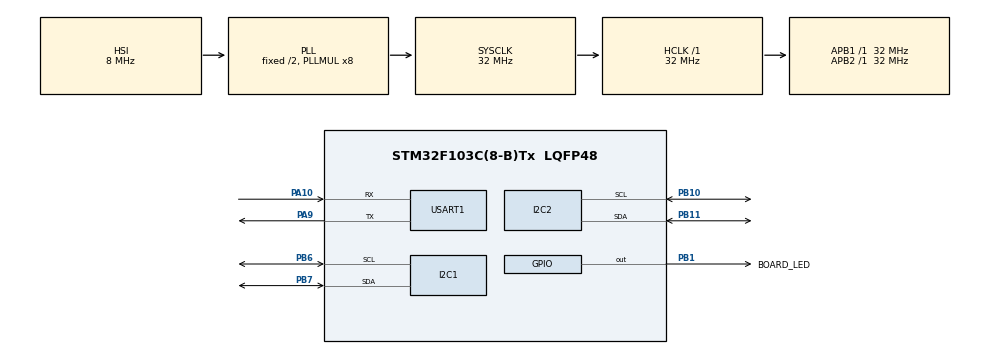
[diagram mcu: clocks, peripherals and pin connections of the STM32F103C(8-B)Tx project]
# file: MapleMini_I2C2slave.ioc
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I2C1.NoStretchMode=I2C_NOSTRETCH_ENABLE
I2C1.OwnAddress=0x21
I2C2.NoStretchMode=I2C_NOSTRETCH_ENABLE
I2C2.OwnAddress=0x20
Mcu.Family=STM32F1
Mcu.Name=STM32F103C(8-B)Tx
Mcu.Package=LQFP48
NVIC.I2C1_EV_IRQn=true\:0\:0\:false\:false\:true\:true\:true\:true
NVIC.I2C2_EV_IRQn=true\:0\:0\:false\:false\:true\:true\:true\:true
NVIC.PriorityGroup=NVIC_PRIORITYGROUP_4
PA10.Mode=Asynchronous
PA10.Signal=USART1_RX
PA13.Mode=Serial_Wire
PA13.Signal=SYS_JTMS-SWDIO
PA14.Mode=Serial_Wire
PA14.Signal=SYS_JTCK-SWCLK
PA9.Mode=Asynchronous
PA9.Signal=USART1_TX
PB1.GPIO_Label=BOARD_LED
PB1.Signal=GPIO_Output
PB10.GPIO_Pu=GPIO_PULLUP
PB10.Mode=I2C
PB10.Signal=I2C2_SCL
PB11.GPIO_Pu=GPIO_PULLUP
PB11.Mode=I2C
PB11.Signal=I2C2_SDA
PB6.Mode=I2C
PB6.Signal=I2C1_SCL
PB7.Mode=I2C
PB7.Signal=I2C1_SDA
PD0-OSC_IN.Mode=HSE-External-Oscillator
PD0-OSC_IN.Signal=RCC_OSC_IN
PD1-OSC_OUT.Mode=HSE-External-Oscillator
PD1-OSC_OUT.Signal=RCC_OSC_OUT
ProjectManager.HeapSize=0x200
ProjectManager.StackSize=0x400
ProjectManager.TargetToolchain=STM32CubeIDE
RCC.AHBFreq_Value=32000000
RCC.APB1Freq_Value=32000000
RCC.APB1TimFreq_Value=32000000
RCC.APB2Freq_Value=32000000
RCC.APB2TimFreq_Value=32000000
RCC.HCLKFreq_Value=32000000
RCC.PLLMUL=RCC_PLL_MUL8
RCC.SYSCLKFreq_VALUE=32000000
RCC.SYSCLKSource=RCC_SYSCLKSOURCE_PLLCLK
RCC.USBFreq_Value=32000000
USART1.VirtualMode=VM_ASYNC
board=custom

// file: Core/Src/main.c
/* USER CODE BEGIN Header */
/**
  ******************************************************************************
  * @file           : main.c
  * @brief          : Main program body
  ******************************************************************************
  * @attention
  *
  * <h2><center>&copy; Copyright (c) 2023 STMicroelectronics.
  * All rights reserved.</center></h2>
  *
  * This software component is licensed by ST under BSD 3-Clause license,
  * the "License"; You may not use this file except in compliance with the
  * License. You may obtain a copy of the License at:
  *                        opensource.org/licenses/BSD-3-Clause
  *
  ******************************************************************************
  */
/* USER CODE END Header */
#include "main.h"
#include "i2c.h"
#include "usart.h"
#include "gpio.h"

/* USER CODE BEGIN Includes */
#include <stdio.h>
/* USER CODE END Includes */

void SystemClock_Config(void);

int main(void)
{

  /* MCU Configuration--------------------------------------------------------*/

  /* Reset of all peripherals, Initializes the Flash interface and the Systick. */
  HAL_Init();

  /* Configure the system clock */
  SystemClock_Config();

  /* Initialize all configured peripherals */
  MX_GPIO_Init();
  MX_I2C2_Init();
  MX_USART1_UART_Init();
  MX_I2C1_Init();
  /* USER CODE BEGIN 2 */

  /* Buffer used for transmission */
  uint8_t aTxBuffer[3];

  #define COUNTOF(__BUFFER__)   (sizeof(__BUFFER__) / sizeof(*(__BUFFER__)))
  /* Size of Transmission buffer */
  #define TXBUFFERSIZE                      (COUNTOF(aTxBuffer))
  /* Size of Reception buffer */
  #define RXBUFFERSIZE                      TXBUFFERSIZE
  /* USER CODE END Includes */

  /* USER CODE BEGIN PTD */
  //__IO uint32_t     Transfer_Direction = 0;

  /* Buffer used for reception */
  uint8_t aRxBuffer[1];

  printf("enabling I2C listen interrupt...\r\n");
  if (HAL_I2C_EnableListen_IT(&hi2c2) != HAL_OK) {
    /* Transfer error in reception process */
    Error_Handler();
  }

  /* USER CODE END 2 */

  /* Infinite loop */
  /* USER CODE BEGIN WHILE */
  while (1)
  {
    // source code from:
    // https://st.my.site.com/community/s/article/how-to-create-an-i2c-slave-device-using-the-stm32cube-library
    if (getMasterInput == 1) {
      getMasterInput = 0;
      if (getTransferDirection == 0) {
        if (HAL_I2C_Slave_Seq_Transmit_IT(&hi2c2, (uint8_t*) aTxBuffer, TXBUFFERSIZE, I2C_NEXT_FRAME) != HAL_OK)
        {
          printf("ERR SLAVE SEQ TX\n");
          Error_Handler();
        }
      } else {
        if (HAL_I2C_Slave_Seq_Receive_IT(&hi2c2, (uint8_t*) aRxBuffer, RXBUFFERSIZE, I2C_NEXT_FRAME) != HAL_OK)
        {
          printf("ERR SLAVE SEQ RX\n");
          Error_Handler();
        } else {
          HAL_Delay(1 * RXBUFFERSIZE);
        }
      }
      //GPIOG->BSRR = DBG_PIN_Pin;
    }

    //HAL_GPIO_WritePin(GPIOG, DBG_PIN_Pin, GPIO_PIN_RESET);

    if (Xfer_Complete == 1) {
      //  HAL_Delay(1);
      /*##- Put I2C peripheral in listen mode proces ###########################*/
      printf("enabling I2C listen interrupt...\r\n");
      if (HAL_I2C_EnableListen_IT(&hi2c2) != HAL_OK) {
        /* Transfer error in reception process */
        printf("ERR IRQ ENABLE\n");
        Error_Handler();
      }
      Xfer_Complete = 0;
    }
    /* USER CODE END WHILE */

  }
}

void SystemClock_Config(void)
{
  RCC_OscInitTypeDef RCC_OscInitStruct = {0};
  RCC_ClkInitTypeDef RCC_ClkInitStruct = {0};

  /** Initializes the RCC Oscillators according to the specified parameters
  * in the RCC_OscInitTypeDef structure.
  */
  RCC_OscInitStruct.OscillatorType = RCC_OSCILLATORTYPE_HSI;
  RCC_OscInitStruct.HSIState = RCC_HSI_ON;
  RCC_OscInitStruct.HSICalibrationValue = RCC_HSICALIBRATION_DEFAULT;
  RCC_OscInitStruct.PLL.PLLState = RCC_PLL_ON;
  RCC_OscInitStruct.PLL.PLLSource = RCC_PLLSOURCE_HSI_DIV2;
  RCC_OscInitStruct.PLL.PLLMUL = RCC_PLL_MUL8;
  if (HAL_RCC_OscConfig(&RCC_OscInitStruct) != HAL_OK)
  {
    Error_Handler();
  }

  /** Initializes the CPU, AHB and APB buses clocks
  */
  RCC_ClkInitStruct.ClockType = RCC_CLOCKTYPE_HCLK|RCC_CLOCKTYPE_SYSCLK
                              |RCC_CLOCKTYPE_PCLK1|RCC_CLOCKTYPE_PCLK2;
  RCC_ClkInitStruct.SYSCLKSource = RCC_SYSCLKSOURCE_PLLCLK;
  RCC_ClkInitStruct.AHBCLKDivider = RCC_SYSCLK_DIV1;
  RCC_ClkInitStruct.APB1CLKDivider = RCC_HCLK_DIV1;
  RCC_ClkInitStruct.APB2CLKDivider = RCC_HCLK_DIV1;

  if (HAL_RCC_ClockConfig(&RCC_ClkInitStruct, FLASH_LATENCY_1) != HAL_OK)
  {
    Error_Handler();
  }
}

void Error_Handler(void)
{
  /* USER CODE BEGIN Error_Handler_Debug */
  /* User can add his own implementation to report the HAL error return state */
  __disable_irq();
  while (1)
  {
    printf("ERROR!\n");
    HAL_Delay(1000);
  }
  /* USER CODE END Error_Handler_Debug */
}
